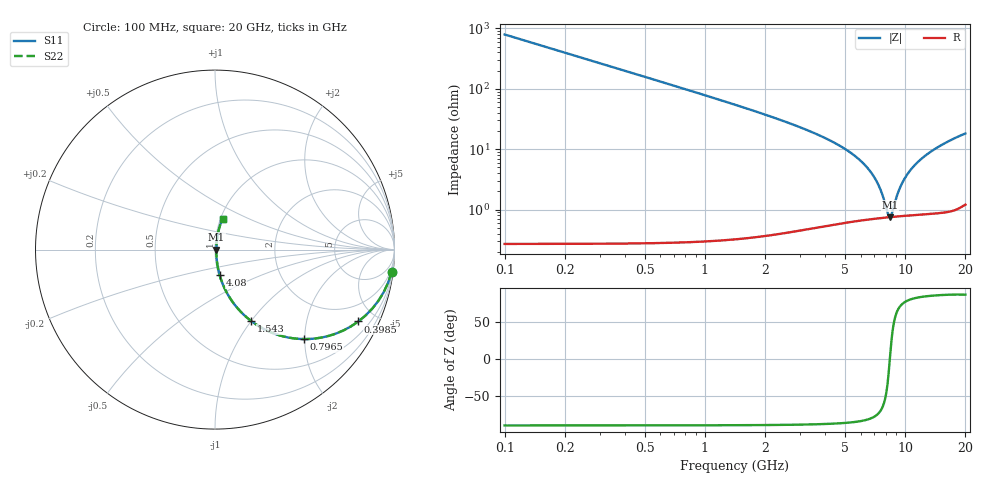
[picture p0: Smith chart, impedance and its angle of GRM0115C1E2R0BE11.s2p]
!Murata Part Number: GRM0115C1E2R0BE11
!These Parameters are Measured in Series Mode Connection
!Data Generated on Mar 30, 2021
!  o--ll--o
!Port1  Port2
!  o------o
!Operation Temp=25[degC], DC Bias Voltage=0[V]
!Freq. Start=100[MHz] Stop=20[GHz] 401[Steps]
# Hz S RI R 50
!Freq.(Hz) S11(Real) S11(Imag) S21(Real) S21(Imag) S12(Real) S12(Imag) S22(Real) S22(Imag)
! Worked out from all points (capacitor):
!   401 points, 100 MHz to 20 GHz, reference 50 ohm
!   read as one part in series: C = 2 pF near 199.5 MHz
!   lowest |Z| = 748 mohm at 8.408 GHz (marker M1)
!   series resonance near 8.393 GHz, so ESL is about 180 pH
!   S11 on the Smith chart (normalised r, x): 100 MHz: 1, -16; 398.5 MHz: 1.01, -3.98; 796.5 MHz: 1.01, -1.98; 1.543 GHz: 1.01, -0.99; 4.08 GHz: 1.01, -0.29; 20 GHz: 1.02, +0.36
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1e8  0.9844 -0.1237  0.0156 0.1237  0.0156 0.1237  0.9844 -0.1237
2.99e8  0.8757 -0.3294  0.1243 0.3294  0.1243 0.3294  0.8757 -0.3294
3.985e8  0.7984 -0.4005  0.2016 0.4005  0.2016 0.4005  0.7984 -0.4005
5.975e8  0.6367 -0.4799  0.3633 0.4799  0.3633 0.4799  0.6367 -0.4799
7.965e8  0.4947 -0.4985  0.5053 0.4985  0.5053 0.4985  0.4947 -0.4985
1.14475e9  0.3177 -0.4634  0.6823 0.4634  0.6823 0.4634  0.3177 -0.4634
1.54275e9  0.1997 -0.3965  0.8003 0.3965  0.8003 0.3965  0.1997 -0.3965
2.289e9  0.0958 -0.2883  0.9042 0.2883  0.9042 0.2883  0.0958 -0.2883
3.43325e9  0.0396 -0.1827  0.9604 0.1827  0.9604 0.1827  0.0396 -0.1827
4.08e9  0.0262 -0.1426  0.9738 0.1426  0.9738 0.1426  0.0262 -0.1426
5.72175e9  0.0116 -0.0719  0.9884 0.0719  0.9884 0.0719  0.0116 -0.0719
6.7665e9  0.00846 -0.0398  0.9915 0.0398  0.9915 0.0398  0.00846 -0.0398
7.463e9  0.00759 -0.0216  0.9924 0.0216  0.9924 0.0216  0.00759 -0.0216
8.20925e9  0.00738 -0.00405  0.9926 0.00405  0.9926 0.00405  0.00738 -0.00405
8.40825e9  0.00742 0.000336  0.9926 -0.000336  0.9926 -0.000336  0.00742 0.000336
8.5575e9  0.00747 0.00355  0.9925 -0.00355  0.9925 -0.00355  0.00747 0.00355
9.30375e9  0.008 0.0189  0.992 -0.0189  0.992 -0.0189  0.008 0.0189
1.005e10  0.00891 0.033  0.9911 -0.033  0.9911 -0.033  0.00891 0.033
1.1443e10  0.0114 0.0573  0.9886 -0.0573  0.9886 -0.0573  0.0114 0.0573
1.338325e10  0.0162 0.0875  0.9838 -0.0875  0.9838 -0.0875  0.0162 0.0875
1.67165e10  0.0274 0.1333  0.9726 -0.1333  0.9726 -0.1333  0.0274 0.1333
2e10  0.0427 0.1716  0.9573 -0.1716  0.9573 -0.1716  0.0427 0.1716
